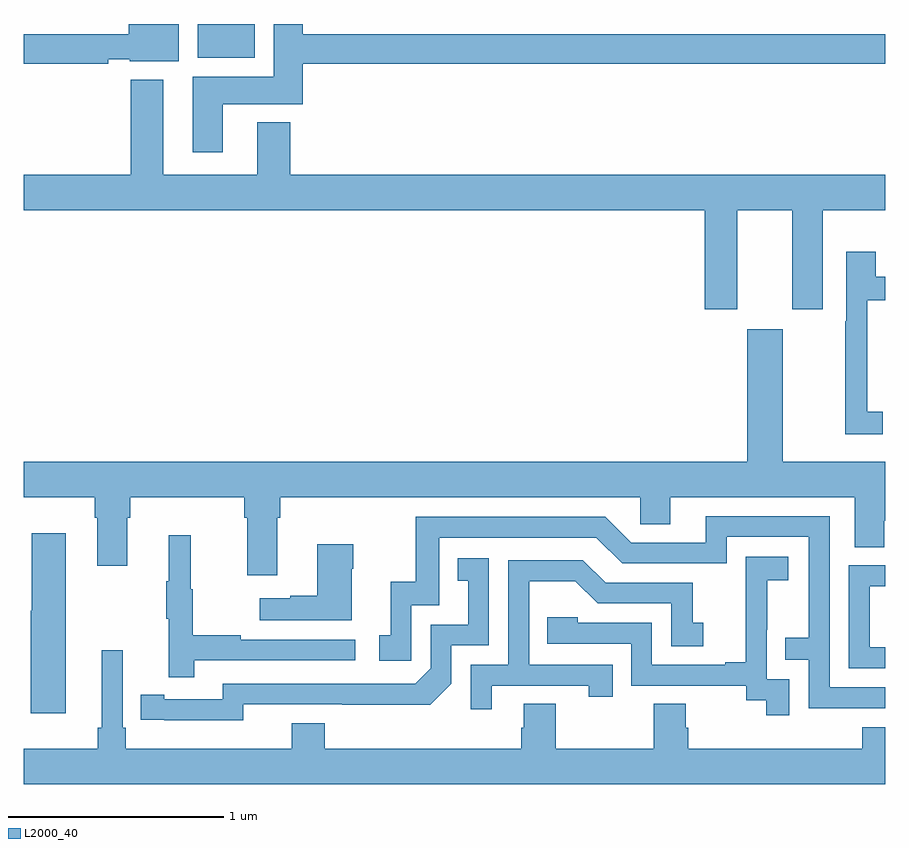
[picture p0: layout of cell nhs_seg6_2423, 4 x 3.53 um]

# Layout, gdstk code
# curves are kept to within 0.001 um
import gdstk
lib = gdstk.Library(unit=1e-6, precision=1e-09)
def R(c, l, rs):  # rectangles x0, y0, x1, y1
    for r in rs: c.add(gdstk.rectangle(r[:2], r[2:], *l))
def P(c, l, *ps):  # polygons
    for p in ps: c.add(gdstk.Polygon(p, *l))
L2000_40 = (2000, 40)

nhs_seg6_2423 = lib.new_cell('nhs_seg6_2423')
R(nhs_seg6_2423, L2000_40, [(255.809,981.344,256.072,981.5)])
P(nhs_seg6_2423, L2000_40, [(255.925,981.128),(256.295,981.128),(256.295,981.316),(259,981.316),(259,981.452),(256.295,981.452),(256.295,981.5),(256.16,981.5),(256.16,981.256),(255.785,981.256),(255.785,980.904),(255.925,980.904)],
  [(255.392,981.336),(255.492,981.336),(255.492,981.326),(255.721,981.326),(255.721,981.5),(255.488,981.5),(255.488,981.452),(255,981.452),(255,981.316),(255.392,981.316)],
  [(258.313,980.636),(258.569,980.636),(258.569,980.175),(258.709,980.175),(258.709,980.636),(259,980.636),(259,980.8),(256.238,980.8),(256.238,981.043),(256.085,981.043),(256.085,980.8),(255.649,980.8),(255.649,981.241),(255.497,981.241),(255.497,980.8),(255,980.8),(255,980.636),(258.161,980.636),(258.161,980.175),(258.313,980.175)],
  [(258.988,979.701),(258.915,979.701),(258.915,980.217),(259,980.217),(259,980.326),(258.955,980.326),(258.955,980.443),(258.819,980.443),(258.819,980.12),(258.814,980.12),(258.814,979.596),(258.988,979.596)],
  [(255,979.304),(255.329,979.304),(255.329,979.208),(255.341,979.208),(255.341,978.984),(255.481,978.984),(255.481,979.208),(255.494,979.208),(255.494,979.304),(256.025,979.304),(256.025,979.208),(256.037,979.208),(256.037,978.942),(256.177,978.942),(256.177,979.208),(256.19,979.208),(256.19,979.304),(257.862,979.304),(257.862,979.177),(258.001,979.177),(258.001,979.304),(258.857,979.304),(258.857,979.072),(258.996,979.072),(258.996,979.195),(259,979.195),(259,979.468),(258.523,979.468),(258.523,980.083),(258.359,980.083),(258.359,979.468),(255,979.468)],
  [(259,978.42),(258.741,978.42),(258.741,979.215),(258.167,979.215),(258.167,979.092),(257.82,979.092),(257.7,979.212),(256.821,979.212),(256.821,978.91),(256.703,978.91),(256.703,978.663),(256.65,978.663),(256.65,978.543),(256.8,978.543),(256.8,978.801),(256.929,978.801),(256.929,979.116),(257.658,979.116),(257.778,978.996),(258.264,978.996),(258.264,979.119),(258.645,979.119),(258.645,978.65),(258.535,978.65),(258.535,978.549),(258.645,978.549),(258.645,978.324),(259,978.324)],
  [(255.196,979.135),(255.038,979.135),(255.038,978.777),(255.032,978.777),(255.032,978.3),(255.196,978.3)],
  [(255.791,978.546),(256.54,978.546),(256.54,978.642),(256.007,978.642),(256.007,978.662),(255.784,978.662),(255.784,978.876),(255.776,978.876),(255.776,979.126),(255.674,979.126),(255.674,978.913),(255.663,978.913),(255.663,978.739),(255.674,978.739),(255.674,978.468),(255.791,978.468)],
  [(256.522,978.971),(256.529,978.971),(256.529,979.084),(256.364,979.084),(256.364,978.845),(256.238,978.845),(256.238,978.835),(256.095,978.835),(256.095,978.731),(256.522,978.731)],
  [(258.555,978.459),(258.45,978.459),(258.45,978.689),(258.452,978.689),(258.452,978.917),(258.55,978.917),(258.55,979.027),(258.352,979.027),(258.352,978.821),(258.353,978.821),(258.353,978.538),(258.257,978.538),(258.257,978.525),(257.916,978.525),(257.916,978.72),(257.571,978.72),(257.571,978.747),(257.431,978.747),(257.431,978.624),(257.82,978.624),(257.82,978.429),(258.354,978.429),(258.354,978.361),(258.447,978.361),(258.447,978.291),(258.555,978.291)],
  [(256.02,978.342),(256.888,978.341),(256.986,978.438),(256.986,978.615),(257.16,978.615),(257.16,979.021),(257.014,979.021),(257.014,978.915),(257.063,978.915),(257.063,978.711),(256.89,978.711),(256.89,978.51),(256.818,978.438),(255.924,978.438),(255.924,978.366),(255.652,978.366),(255.652,978.386),(255.544,978.386),(255.544,978.27),(256.02,978.269)],
  [(257.173,978.429),(257.624,978.429),(257.624,978.378),(257.735,978.378),(257.735,978.525),(257.346,978.525),(257.346,978.914),(257.56,978.914),(257.664,978.81),(258.006,978.81),(258.006,978.612),(258.154,978.612),(258.154,978.721),(258.105,978.721),(258.105,978.906),(257.701,978.906),(257.596,979.011),(257.25,979.011),(257.25,978.525),(257.076,978.525),(257.076,978.318),(257.173,978.318)],
  [(259,978.606),(258.927,978.606),(258.927,978.891),(259,978.891),(259,978.987),(258.831,978.987),(258.831,978.51),(259,978.51)],
  [(259,978.235),(258.892,978.235),(258.892,978.136),(258.086,978.136),(258.086,978.234),(258.073,978.234),(258.073,978.344),(257.926,978.344),(257.926,978.136),(257.469,978.136),(257.469,978.344),(257.321,978.344),(257.321,978.234),(257.309,978.234),(257.309,978.136),(256.397,978.136),(256.397,978.253),(256.244,978.253),(256.244,978.136),(255.473,978.136),(255.473,978.232),(255.459,978.232),(255.459,978.592),(255.362,978.592),(255.362,978.232),(255.343,978.232),(255.343,978.136),(255,978.136),(255,977.972),(259,977.972)])

lib.write_gds('nhs_seg6_2423.gds')
